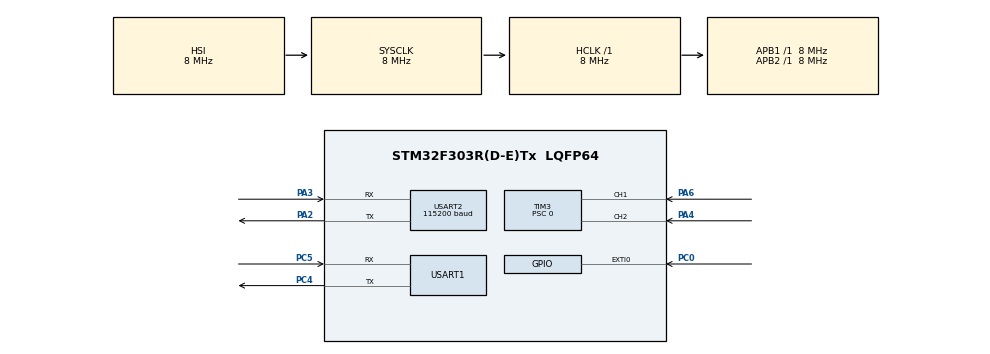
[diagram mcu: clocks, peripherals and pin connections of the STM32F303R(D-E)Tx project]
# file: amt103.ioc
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Mcu.Family=STM32F3
Mcu.Name=STM32F303R(D-E)Tx
Mcu.Package=LQFP64
Mcu.UserConstants=QUADRATURE_FILTER,8
NVIC.EXTI0_IRQn=true\:0\:0\:false\:false\:true\:true\:true
NVIC.PriorityGroup=NVIC_PRIORITYGROUP_4
PA2.Mode=Asynchronous
PA2.Signal=USART2_TX
PA3.Mode=Asynchronous
PA3.Signal=USART2_RX
PA4.Signal=S_TIM3_CH2
PA6.Signal=S_TIM3_CH1
PC0.Signal=GPXTI0
PC4.Mode=Asynchronous
PC4.Signal=USART1_TX
PC5.Mode=Asynchronous
PC5.Signal=USART1_RX
ProjectManager.HeapSize=0x200
ProjectManager.StackSize=0x400
ProjectManager.TargetToolchain=STM32CubeIDE
RCC.AHBFreq_Value=8000000
RCC.APB1Freq_Value=8000000
RCC.APB2Freq_Value=8000000
RCC.CortexFreq_Value=8000000
RCC.HSE_VALUE=8000000
RCC.HSI_VALUE=8000000
RCC.LSE_VALUE=32768
RCC.SYSCLKFreq_VALUE=8000000
RCC.USBFreq_Value=16000000
SH.S_TIM3_CH1.0=TIM3_CH1,Encoder_Interface
SH.S_TIM3_CH2.0=TIM3_CH2,Encoder_Interface
TIM3.IC1Filter=QUADRATURE_FILTER
TIM3.IC2Filter=QUADRATURE_FILTER
TIM3.Prescaler=0
USART1.VirtualMode-Asynchronous=VM_ASYNC
USART2.BaudRate=115200
USART2.VirtualMode-Asynchronous=VM_ASYNC
board=custom

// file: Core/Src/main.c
/* USER CODE BEGIN Header */
/**
  ******************************************************************************
  * @file           : main.c
  * @brief          : Main program body
  ******************************************************************************
  * @attention
  *
  * Copyright (c) 2022 STMicroelectronics.
  * All rights reserved.
  *
  * This software is licensed under terms that can be found in the LICENSE file
  * in the root directory of this software component.
  * If no LICENSE file comes with this software, it is provided AS-IS.
  *
  ******************************************************************************
  */
/* USER CODE END Header */
#include "main.h"

/* USER CODE BEGIN Includes */
#include "stdio.h"  // for sprintf

/* USER CODE END Includes */

TIM_HandleTypeDef htim3;

UART_HandleTypeDef huart1;
UART_HandleTypeDef huart2;

void SystemClock_Config(void);
static void MX_GPIO_Init(void);
static void MX_TIM3_Init(void);
static void MX_USART1_UART_Init(void);
static void MX_USART2_UART_Init(void);

/* USER CODE BEGIN 0 */
int index_hit = 0;
/* USER CODE END 0 */

int main(void)
{

  /* MCU Configuration--------------------------------------------------------*/

  /* Reset of all peripherals, Initializes the Flash interface and the Systick. */
  HAL_Init();

  /* Configure the system clock */
  SystemClock_Config();

  /* Initialize all configured peripherals */
  MX_GPIO_Init();
  MX_TIM3_Init();
  MX_USART1_UART_Init();
  MX_USART2_UART_Init();
  /* USER CODE BEGIN 2 */
  HAL_TIM_Encoder_Start(&htim3, TIM_CHANNEL_ALL);

  void HAL_GPIO_EXTI_Callback(uint16_t GPIO_Pin){
	  printf("Index Hit \n\r");

  }

  /* USER CODE END 2 */

  /* Infinite loop */
  /* USER CODE BEGIN WHILE */
  uint16_t quad_enc_value = 0;
  uint16_t quad_enc_raw_last = 0;
  uint16_t quad_enc_raw_now = 0;
  float current_angle = 0;
  float quad_cpr = 8192.0;

  while (1)
  {
    /* USER CODE END WHILE */

    /* USER CODE BEGIN 3 */
	  /*
	   * PA6 is M1 QUAD A
	   * PA4 is M1 QUAD B
	   * PB8 is J I2C SCL
	   * PB9 is J I2C SDA
	   * Datasheet: https://www.cuidevices.com/product/resource/amt10.pdf
	   * Device is AMT103 2048 N4000.
	   *
	   */

		quad_enc_raw_now = TIM3->CNT;
		quad_enc_value = (int16_t)(quad_enc_raw_now - quad_enc_raw_last) + quad_enc_value;
		quad_enc_raw_last = quad_enc_raw_now;

//		current_angle = (((float)(quad_enc_value % 4096)) / 4096 * 360);
		current_angle = (((float)(quad_enc_value)) / 4096 * 360);
		printf("Quad val: %u, quad now: %u, quad last: %u, current_angle: %f \r\n", quad_enc_value, quad_enc_raw_now, quad_enc_raw_last, current_angle);

		char string[50] = "";

		sprintf((char *)string, "Quad val is %u, quad now is %u, quad last is%u,\r\n", quad_enc_value, quad_enc_raw_now, quad_enc_raw_last);
		HAL_Delay(100);
		HAL_UART_Transmit_IT(&huart1, (uint8_t *)string, sizeof(string));
		HAL_Delay(15);

	  	if(index_hit == 1){
	  		// joint b quad encoder is on channel 1 of nucleo 1
	  		// change this to if limit switch is hit - then set the angle to 90
	  		printf("Index Hit == 1 \n\r");
	  		index_hit = 0;
	  		quad_enc_value = (45.0/360) * 4096;
	  		for(int i = 0; i < 1000; i++);
	  	}
  }
  /* USER CODE END 3 */
}

void SystemClock_Config(void)
{
  RCC_OscInitTypeDef RCC_OscInitStruct = {0};
  RCC_ClkInitTypeDef RCC_ClkInitStruct = {0};
  RCC_PeriphCLKInitTypeDef PeriphClkInit = {0};

  /** Initializes the RCC Oscillators according to the specified parameters
  * in the RCC_OscInitTypeDef structure.
  */
  RCC_OscInitStruct.OscillatorType = RCC_OSCILLATORTYPE_HSI;
  RCC_OscInitStruct.HSIState = RCC_HSI_ON;
  RCC_OscInitStruct.HSICalibrationValue = RCC_HSICALIBRATION_DEFAULT;
  RCC_OscInitStruct.PLL.PLLState = RCC_PLL_NONE;
  if (HAL_RCC_OscConfig(&RCC_OscInitStruct) != HAL_OK)
  {
    Error_Handler();
  }
  /** Initializes the CPU, AHB and APB buses clocks
  */
  RCC_ClkInitStruct.ClockType = RCC_CLOCKTYPE_HCLK|RCC_CLOCKTYPE_SYSCLK
                              |RCC_CLOCKTYPE_PCLK1|RCC_CLOCKTYPE_PCLK2;
  RCC_ClkInitStruct.SYSCLKSource = RCC_SYSCLKSOURCE_HSI;
  RCC_ClkInitStruct.AHBCLKDivider = RCC_SYSCLK_DIV1;
  RCC_ClkInitStruct.APB1CLKDivider = RCC_HCLK_DIV1;
  RCC_ClkInitStruct.APB2CLKDivider = RCC_HCLK_DIV1;

  if (HAL_RCC_ClockConfig(&RCC_ClkInitStruct, FLASH_LATENCY_0) != HAL_OK)
  {
    Error_Handler();
  }
  PeriphClkInit.PeriphClockSelection = RCC_PERIPHCLK_USART1|RCC_PERIPHCLK_USART2
                              |RCC_PERIPHCLK_TIM34;
  PeriphClkInit.Usart1ClockSelection = RCC_USART1CLKSOURCE_PCLK2;
  PeriphClkInit.Usart2ClockSelection = RCC_USART2CLKSOURCE_PCLK1;
  PeriphClkInit.Tim34ClockSelection = RCC_TIM34CLK_HCLK;
  if (HAL_RCCEx_PeriphCLKConfig(&PeriphClkInit) != HAL_OK)
  {
    Error_Handler();
  }
}

static void MX_TIM3_Init(void)
{

  TIM_Encoder_InitTypeDef sConfig = {0};
  TIM_MasterConfigTypeDef sMasterConfig = {0};

  htim3.Instance = TIM3;
  htim3.Init.Prescaler = 0;
  htim3.Init.CounterMode = TIM_COUNTERMODE_UP;
  htim3.Init.Period = 65535;
  htim3.Init.ClockDivision = TIM_CLOCKDIVISION_DIV1;
  htim3.Init.AutoReloadPreload = TIM_AUTORELOAD_PRELOAD_DISABLE;
  sConfig.EncoderMode = TIM_ENCODERMODE_TI1;
  sConfig.IC1Polarity = TIM_ICPOLARITY_RISING;
  sConfig.IC1Selection = TIM_ICSELECTION_DIRECTTI;
  sConfig.IC1Prescaler = TIM_ICPSC_DIV1;
  sConfig.IC1Filter = QUADRATURE_FILTER;
  sConfig.IC2Polarity = TIM_ICPOLARITY_RISING;
  sConfig.IC2Selection = TIM_ICSELECTION_DIRECTTI;
  sConfig.IC2Prescaler = TIM_ICPSC_DIV1;
  sConfig.IC2Filter = QUADRATURE_FILTER;
  if (HAL_TIM_Encoder_Init(&htim3, &sConfig) != HAL_OK)
  {
    Error_Handler();
  }
  sMasterConfig.MasterOutputTrigger = TIM_TRGO_RESET;
  sMasterConfig.MasterSlaveMode = TIM_MASTERSLAVEMODE_DISABLE;
  if (HAL_TIMEx_MasterConfigSynchronization(&htim3, &sMasterConfig) != HAL_OK)
  {
    Error_Handler();
  }

}

static void MX_USART1_UART_Init(void)
{

  huart1.Instance = USART1;
  huart1.Init.BaudRate = 38400;
  huart1.Init.WordLength = UART_WORDLENGTH_8B;
  huart1.Init.StopBits = UART_STOPBITS_1;
  huart1.Init.Parity = UART_PARITY_NONE;
  huart1.Init.Mode = UART_MODE_TX_RX;
  huart1.Init.HwFlowCtl = UART_HWCONTROL_NONE;
  huart1.Init.OverSampling = UART_OVERSAMPLING_16;
  huart1.Init.OneBitSampling = UART_ONE_BIT_SAMPLE_DISABLE;
  huart1.AdvancedInit.AdvFeatureInit = UART_ADVFEATURE_NO_INIT;
  if (HAL_UART_Init(&huart1) != HAL_OK)
  {
    Error_Handler();
  }

}

static void MX_USART2_UART_Init(void)
{

  huart2.Instance = USART2;
  huart2.Init.BaudRate = 115200;
  huart2.Init.WordLength = UART_WORDLENGTH_8B;
  huart2.Init.StopBits = UART_STOPBITS_1;
  huart2.Init.Parity = UART_PARITY_NONE;
  huart2.Init.Mode = UART_MODE_TX_RX;
  huart2.Init.HwFlowCtl = UART_HWCONTROL_NONE;
  huart2.Init.OverSampling = UART_OVERSAMPLING_16;
  huart2.Init.OneBitSampling = UART_ONE_BIT_SAMPLE_DISABLE;
  huart2.AdvancedInit.AdvFeatureInit = UART_ADVFEATURE_NO_INIT;
  if (HAL_UART_Init(&huart2) != HAL_OK)
  {
    Error_Handler();
  }

}

static void MX_GPIO_Init(void)
{
  GPIO_InitTypeDef GPIO_InitStruct = {0};

  /* GPIO Ports Clock Enable */
  __HAL_RCC_GPIOC_CLK_ENABLE();
  __HAL_RCC_GPIOA_CLK_ENABLE();

  /*Configure GPIO pin : PC0 */
  GPIO_InitStruct.Pin = GPIO_PIN_0;
  GPIO_InitStruct.Mode = GPIO_MODE_IT_RISING;
  GPIO_InitStruct.Pull = GPIO_NOPULL;
  HAL_GPIO_Init(GPIOC, &GPIO_InitStruct);

  /* EXTI interrupt init*/
  HAL_NVIC_SetPriority(EXTI0_IRQn, 0, 0);
  HAL_NVIC_EnableIRQ(EXTI0_IRQn);

}

/* USER CODE BEGIN 4 */

#ifdef __GNUC__
#define PUTCHAR_PROTOTYPE int __io_putchar(int ch)
#else
  #define PUTCHAR_PROTOTYPE int fputc(int ch, FILE *f)
#endif /* __GNUC__ */
PUTCHAR_PROTOTYPE
{
  HAL_UART_Transmit(&huart2, (uint8_t *)&ch, 1, 0xFFFF);
  return ch;
}

/* USER CODE END 4 */

void Error_Handler(void)
{
  __disable_irq();
  while (1)
  {
  }
}
